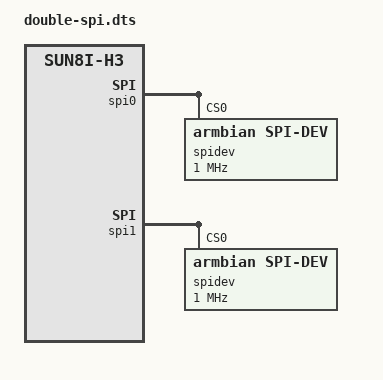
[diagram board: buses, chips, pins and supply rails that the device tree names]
/dts-v1/;
/plugin/;

/ {
	compatible = "allwinner,sun8i-h3";

	fragment@0 {
		target-path = "/aliases";

		__overlay__ {
			spi0 = "/soc/spi@1c68000";
			spi1 = "/soc/spi@1c69000";
		};
	};

	fragment@1 {
		target = <&spi0>;

		__overlay__ {
			pinctrl-names = "default";
			pinctrl-0 = <&spi0_pins>;
			status = "okay";

			#address-cells = <1>;
			#size-cells = <0>;

			spidev@0 {
				compatible = "armbian,spi-dev";
				status = "okay";
				reg = <0x0>;
				spi-max-frequency = <1000000>;
			};
		};
	};

	fragment@2 {
		target = <&spi1>;

		__overlay__ {
			pinctrl-names = "default";
		        pinctrl-0 = <&spi1_pins>;
			status = "okay";

			#address-cells = <1>;
			#size-cells = <0>;

			spidev@0 {
				compatible = "armbian,spi-dev";
				status = "okay";
				reg = <0x0>;
				spi-max-frequency = <1000000>;
			};
		};
	};

	/*__fixups__ {
		spi0 = "/fragment@1:target:0";
		spi1 = "/fragment@2:target:0";
	};*/
};
